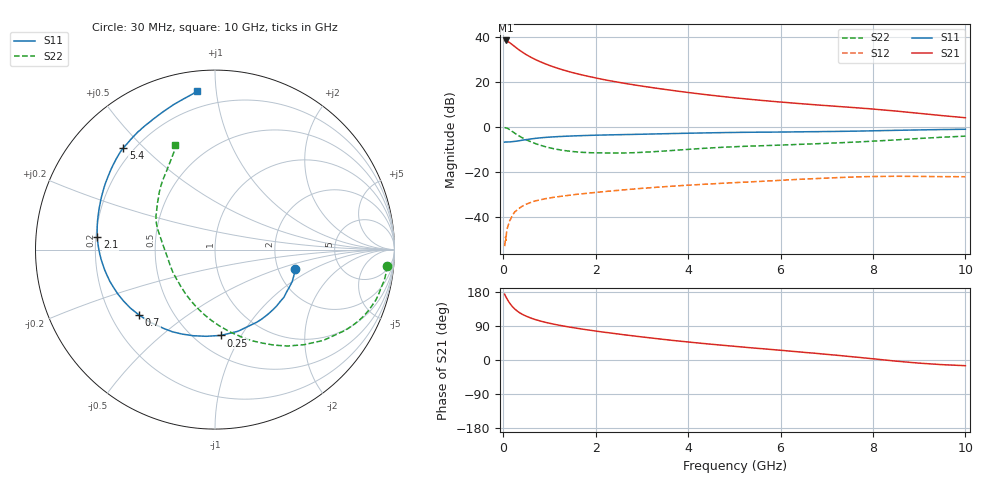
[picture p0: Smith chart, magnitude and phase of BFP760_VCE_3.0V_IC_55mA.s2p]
! Infineon Technologies  Discrete & RF Semiconductors
! BFP760
! VCE =  3.0 V,  IC =  55 mA
! Common Emitter S-Parameters:  Nov 2012
# GHz  S  MA  R  50
!  f  S11  S21  S12  S22
! GHz  MAG  ANG  MAG  ANG  MAG  ANG  MAG  ANG
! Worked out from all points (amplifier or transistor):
!   99 points, 30 MHz to 10 GHz, reference 50 ohm
!   highest |S21| = 38.3 dB at 50 MHz (marker M1)
!   |S21| within 3 dB of that: start of sweep to 268.3 MHz
!   unconditionally stable (mu >= 1): 3.596 GHz to end of sweep
!   at 350 MHz: K = 0.39, MSG = 35.0 dB, |S12| = -36.0 dB
!   at 3.5 GHz: K = 0.99, MSG = 21.5 dB, |S12| = -26.4 dB
!   at 10 GHz: K = 1.05, MAG = 11.7 dB, |S12| = -22.0 dB
!   S11 on the Smith chart (normalised r, x): 30 MHz: 2.49, -0.68; 250 MHz: 0.66, -0.82; 700 MHz: 0.32, -0.34; 2.1 GHz: 0.21, +0.05; 5.4 GHz: 0.16, +0.44; 10 GHz: 0.11, +0.89
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0.03  0.4606 -13.6  81.24 173.7  0.0023 86.2  0.9607 -5.4
0.05  0.4657 -22.4  81.8 168.5  0.0037 77.7  0.9584 -10.5
0.07  0.4637 -30.9  80.8 164.0  0.0045 73.3  0.945 -15.3
0.1  0.4655 -42.5  77.59 157.6  0.0062 74.1  0.9185 -22.0
0.15  0.4668 -60.0  71.84 148.3  0.0087 70.0  0.8537 -31.8
0.2  0.4727 -74.3  65.61 140.7  0.0111 64.7  0.7874 -40.0
0.25  0.4792 -85.9  59.9 134.6  0.0132 63.9  0.7257 -46.9
0.3  0.4855 -95.8  54.62 129.4  0.0145 58.8  0.6726 -53.0
0.35  0.495 -104.2  49.96 125.1  0.0159 56.4  0.6255 -58.3
0.45  0.5155 -117.2  42.61 118.3  0.0185 52.8  0.5501 -67.6
0.6  0.5427 -131.7  34.71 110.6  0.0214 48.7  0.4674 -79.5
0.7  0.5581 -139.1  30.82 106.5  0.0232 46.8  0.4267 -86.5
0.9  0.5844 -150.6  25.1 99.8  0.0257 43.6  0.3673 -99.3
1.1  0.6032 -159.5  21.1 94.4  0.0278 42.1  0.3281 -110.5
1.7  0.6417 -177.5  14.18 81.8  0.0331 40.1  0.2741 -137.0
2.1  0.6594 173.9  11.54 74.7  0.0363 39.5  0.2668 -150.9
3.4  0.7035 152.5  6.979 55.3  0.0468 37.8  0.2892 175.7
5.1  0.7571 134.3  4.314 35.1  0.0591 33.5  0.368 153.3
5.4  0.7628 132.0  4.027 31.8  0.0613 32.6  0.3782 150.4
6.7  0.7845 123.0  3.117 18.3  0.0715 27.9  0.4218 138.8
8.5  0.8403 105.9  2.242 -3.0  0.0809 16.1  0.5161 121.4
10  0.8878 96.5  1.597 -15.0  0.0792 10.8  0.6248 111.0
